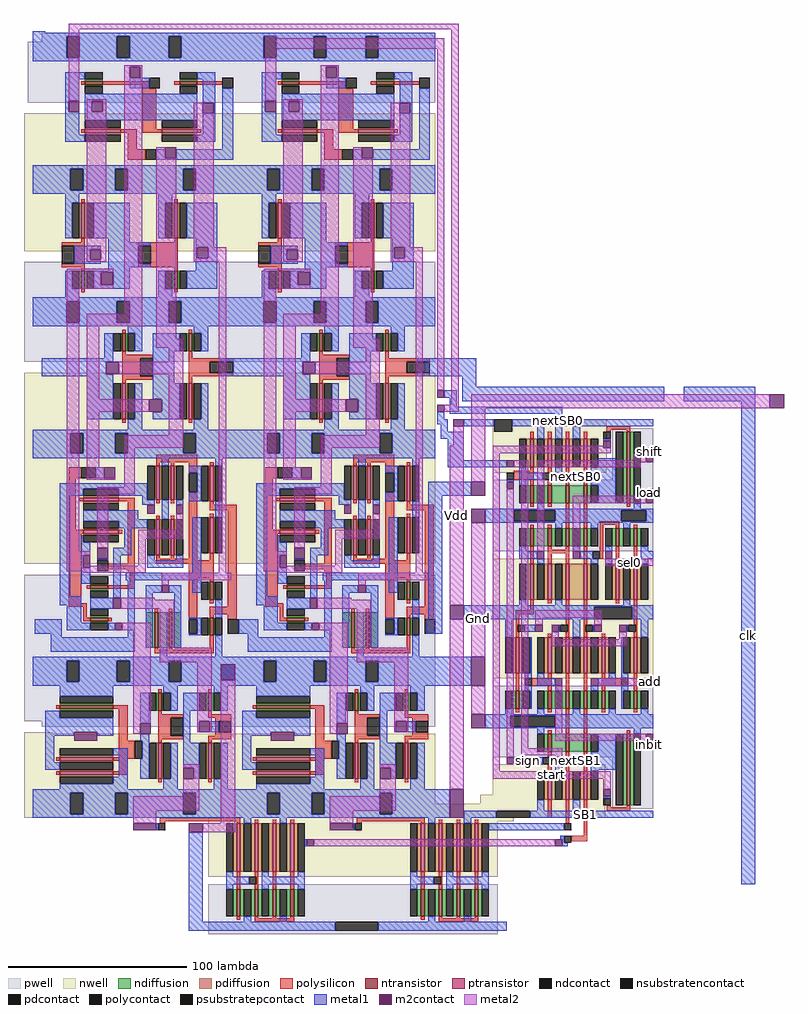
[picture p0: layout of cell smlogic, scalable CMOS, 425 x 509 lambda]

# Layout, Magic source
magic
tech scmos
<< pwell >>
rect 125 322 139 356
rect 123 177 139 233
rect 452 111 475 140
rect 385 71 475 111
rect 123 -24 139 58
rect 385 -44 475 -4
rect 452 -73 475 -44
rect 226 -143 388 -115
<< nwell >>
rect 123 239 139 316
rect 123 64 139 171
rect 385 115 449 145
rect 385 0 475 67
rect 123 -78 139 -30
rect 385 -65 448 -48
rect 378 -70 448 -65
rect 226 -78 448 -70
rect 226 -80 397 -78
rect 226 -111 388 -80
<< polysilicon >>
rect 449 139 462 141
rect 449 138 451 139
rect 460 138 462 139
rect 406 134 408 138
rect 416 134 418 138
rect 426 134 428 138
rect 436 134 438 138
rect 406 116 408 118
rect 397 111 408 116
rect 416 115 418 118
rect 417 111 418 115
rect 406 108 408 111
rect 416 108 418 111
rect 426 108 428 118
rect 436 108 438 118
rect 406 96 408 98
rect 416 96 418 98
rect 406 84 408 86
rect 416 84 418 86
rect 426 84 428 98
rect 436 84 438 98
rect 460 96 462 98
rect 445 86 456 88
rect 406 64 408 74
rect 416 72 418 74
rect 426 72 428 74
rect 416 70 428 72
rect 416 64 418 70
rect 426 64 428 70
rect 436 64 438 74
rect 445 67 447 86
rect 454 84 456 86
rect 464 84 466 86
rect 454 64 456 74
rect 464 64 466 74
rect 406 38 408 44
rect 416 42 418 44
rect 398 36 408 38
rect 398 30 400 36
rect 426 30 428 44
rect 398 26 399 30
rect 427 26 428 30
rect 398 23 400 26
rect 416 23 418 25
rect 426 23 428 26
rect 436 30 438 44
rect 454 42 456 44
rect 464 30 466 44
rect 436 26 437 30
rect 465 26 466 30
rect 436 23 438 26
rect 446 23 448 25
rect 464 23 466 26
rect 398 -7 400 3
rect 416 0 418 3
rect 407 -4 418 0
rect 416 -7 418 -4
rect 426 -7 428 3
rect 436 -7 438 3
rect 446 0 448 3
rect 446 -4 457 0
rect 446 -7 448 -4
rect 464 -7 466 3
rect 398 -19 400 -17
rect 416 -19 418 -17
rect 416 -31 418 -29
rect 426 -31 428 -17
rect 436 -31 438 -17
rect 446 -19 448 -17
rect 464 -19 466 -17
rect 460 -31 462 -29
rect 416 -44 418 -41
rect 417 -48 418 -44
rect 416 -52 418 -48
rect 426 -52 428 -41
rect 436 -52 438 -41
rect 416 -78 418 -68
rect 199 -80 244 -78
rect 199 -81 202 -80
rect 242 -81 244 -80
rect 252 -81 254 -79
rect 262 -81 264 -79
rect 272 -81 274 -79
rect 309 -80 347 -78
rect 309 -81 312 -80
rect 345 -81 347 -80
rect 355 -81 357 -79
rect 365 -81 367 -79
rect 375 -81 377 -79
rect 426 -81 428 -68
rect 436 -88 438 -68
rect 449 -72 451 -71
rect 460 -72 462 -71
rect 449 -74 462 -72
rect 429 -91 438 -88
rect 242 -118 244 -108
rect 252 -111 254 -108
rect 253 -115 254 -111
rect 252 -118 254 -115
rect 262 -118 264 -108
rect 272 -118 274 -108
rect 345 -118 347 -108
rect 355 -111 357 -108
rect 356 -115 357 -111
rect 355 -118 357 -115
rect 365 -118 367 -108
rect 375 -118 377 -108
rect 242 -135 244 -133
rect 252 -134 254 -133
rect 262 -134 264 -133
rect 272 -134 274 -133
rect 252 -136 274 -134
rect 345 -135 347 -133
rect 355 -134 357 -133
rect 365 -134 367 -133
rect 375 -134 377 -133
rect 355 -136 377 -134
<< ndiffusion >>
rect 404 98 406 108
rect 408 98 410 108
rect 414 98 416 108
rect 418 98 426 108
rect 428 98 436 108
rect 438 98 440 108
rect 458 98 460 138
rect 462 98 464 138
rect 404 74 406 84
rect 408 74 416 84
rect 418 74 420 84
rect 424 74 426 84
rect 428 74 430 84
rect 434 74 436 84
rect 438 74 440 84
rect 452 74 454 84
rect 456 74 458 84
rect 462 74 464 84
rect 466 74 468 84
rect 396 -17 398 -7
rect 400 -17 402 -7
rect 414 -17 416 -7
rect 418 -17 420 -7
rect 424 -17 426 -7
rect 428 -17 430 -7
rect 434 -17 436 -7
rect 438 -17 440 -7
rect 444 -17 446 -7
rect 448 -17 450 -7
rect 462 -17 464 -7
rect 466 -17 468 -7
rect 414 -41 416 -31
rect 418 -41 426 -31
rect 428 -41 436 -31
rect 438 -41 440 -31
rect 458 -71 460 -31
rect 462 -71 464 -31
rect 240 -133 242 -118
rect 244 -133 246 -118
rect 250 -133 252 -118
rect 254 -133 256 -118
rect 260 -133 262 -118
rect 264 -133 266 -118
rect 270 -133 272 -118
rect 274 -133 276 -118
rect 343 -133 345 -118
rect 347 -133 349 -118
rect 353 -133 355 -118
rect 357 -133 359 -118
rect 363 -133 365 -118
rect 367 -133 369 -118
rect 373 -133 375 -118
rect 377 -133 379 -118
<< pdiffusion >>
rect 404 118 406 134
rect 408 118 410 134
rect 414 118 416 134
rect 418 118 420 134
rect 424 118 426 134
rect 428 118 430 134
rect 434 118 436 134
rect 438 118 440 134
rect 404 44 406 64
rect 408 44 410 64
rect 414 44 416 64
rect 418 44 420 64
rect 424 44 426 64
rect 428 44 436 64
rect 438 44 440 64
rect 452 44 454 64
rect 456 44 458 64
rect 462 44 464 64
rect 466 44 468 64
rect 396 3 398 23
rect 400 3 402 23
rect 414 3 416 23
rect 418 3 420 23
rect 424 3 426 23
rect 428 3 430 23
rect 434 3 436 23
rect 438 3 440 23
rect 444 3 446 23
rect 448 3 450 23
rect 462 3 464 23
rect 466 3 468 23
rect 414 -68 416 -52
rect 418 -68 420 -52
rect 424 -68 426 -52
rect 428 -68 430 -52
rect 434 -68 436 -52
rect 438 -68 440 -52
rect 240 -108 242 -81
rect 244 -108 246 -81
rect 250 -108 252 -81
rect 254 -108 256 -81
rect 260 -108 262 -81
rect 264 -108 266 -81
rect 270 -108 272 -81
rect 274 -108 276 -81
rect 343 -108 345 -81
rect 347 -108 349 -81
rect 353 -108 355 -81
rect 357 -108 359 -81
rect 363 -108 365 -81
rect 367 -108 369 -81
rect 373 -108 375 -81
rect 377 -108 379 -81
<< metal1 >>
rect 128 345 135 362
rect 128 271 134 287
rect 128 197 134 213
rect 347 169 376 179
rect 368 163 376 169
rect 358 157 365 161
rect 354 145 358 149
rect 361 152 365 157
rect 368 155 481 163
rect 492 155 532 163
rect 361 148 424 152
rect 354 142 360 145
rect 128 123 134 139
rect 356 138 360 142
rect 369 141 386 145
rect 396 141 413 145
rect 356 134 369 138
rect 410 134 414 141
rect 360 122 369 134
rect 360 118 393 122
rect 420 134 424 148
rect 434 141 475 145
rect 430 134 434 141
rect 447 133 451 134
rect 444 118 454 123
rect 400 115 404 118
rect 420 115 424 118
rect 440 115 454 118
rect 393 110 397 111
rect 349 102 373 110
rect 400 111 413 115
rect 420 111 454 115
rect 400 108 404 111
rect 440 108 454 111
rect 349 33 357 102
rect 444 98 454 108
rect 471 125 475 129
rect 471 102 475 106
rect 410 95 414 98
rect 464 95 468 98
rect 381 94 475 95
rect 381 88 397 94
rect 420 88 457 94
rect 471 88 475 94
rect 381 87 475 88
rect 420 84 424 87
rect 440 84 444 87
rect 458 84 462 87
rect 400 71 404 74
rect 430 71 434 74
rect 448 71 452 74
rect 400 67 410 71
rect 434 67 441 71
rect 410 64 414 67
rect 440 64 444 67
rect 448 64 452 67
rect 468 71 472 74
rect 468 67 475 71
rect 468 64 472 67
rect 400 41 404 44
rect 420 41 424 44
rect 458 41 462 44
rect 369 40 475 41
rect 369 33 442 40
rect 463 33 475 40
rect 129 25 134 33
rect 348 25 357 33
rect 392 23 396 33
rect 403 26 409 30
rect 422 26 423 30
rect 430 23 434 33
rect 441 26 442 30
rect 460 26 461 30
rect 468 23 472 33
rect 128 -4 134 12
rect 348 -4 373 12
rect 406 3 407 23
rect 403 0 407 3
rect 410 0 414 3
rect 450 0 454 3
rect 410 -4 420 0
rect 403 -7 407 -4
rect 420 -7 424 -4
rect 444 -4 454 0
rect 457 3 458 23
rect 457 0 461 3
rect 472 -4 475 0
rect 440 -7 444 -4
rect 457 -7 461 -4
rect 406 -17 407 -7
rect 457 -17 458 -7
rect 392 -20 396 -17
rect 410 -20 414 -17
rect 430 -20 434 -17
rect 450 -20 454 -17
rect 468 -20 472 -17
rect 381 -21 475 -20
rect 381 -27 395 -21
rect 420 -27 475 -21
rect 381 -28 475 -27
rect 410 -31 414 -28
rect 464 -31 468 -28
rect 444 -41 454 -31
rect 440 -44 454 -41
rect 397 -48 413 -44
rect 424 -48 454 -44
rect 420 -52 424 -48
rect 440 -51 454 -48
rect 440 -52 444 -51
rect 128 -78 134 -62
rect 346 -78 361 -62
rect 447 -67 451 -66
rect 410 -74 414 -68
rect 430 -74 434 -68
rect 471 -39 475 -35
rect 369 -78 387 -74
rect 406 -78 475 -74
rect 246 -81 250 -78
rect 266 -81 270 -78
rect 349 -81 353 -78
rect 369 -81 373 -78
rect 197 -85 198 -81
rect 215 -136 223 -86
rect 307 -85 308 -81
rect 280 -94 281 -90
rect 236 -111 240 -108
rect 256 -111 260 -108
rect 276 -111 280 -108
rect 236 -115 249 -111
rect 256 -115 280 -111
rect 236 -118 240 -115
rect 256 -118 260 -115
rect 276 -118 280 -115
rect 383 -85 425 -81
rect 423 -90 425 -88
rect 424 -92 425 -90
rect 424 -94 427 -92
rect 339 -111 343 -108
rect 359 -111 363 -108
rect 379 -111 383 -108
rect 339 -115 352 -111
rect 359 -115 383 -111
rect 524 -115 532 155
rect 339 -118 343 -115
rect 359 -118 363 -115
rect 379 -118 383 -115
rect 246 -136 250 -133
rect 266 -136 270 -133
rect 349 -136 353 -133
rect 369 -136 373 -133
rect 215 -141 297 -136
rect 321 -141 393 -136
<< metal2 >>
rect 148 363 366 366
rect 148 358 154 363
rect 258 352 358 358
rect 354 161 358 352
rect 362 153 366 363
rect 358 149 366 153
rect 373 151 540 159
rect 363 130 369 141
rect 361 41 369 130
rect 373 110 381 151
rect 417 141 430 145
rect 385 129 447 130
rect 385 126 451 129
rect 184 -81 197 -77
rect 233 -81 241 -1
rect 361 -62 369 33
rect 373 12 381 87
rect 373 -20 381 -4
rect 385 -52 389 126
rect 464 122 471 125
rect 397 118 405 122
rect 393 -44 397 106
rect 401 -39 405 118
rect 410 121 471 122
rect 410 118 468 121
rect 410 71 414 118
rect 430 98 471 102
rect 430 71 434 98
rect 448 63 475 67
rect 409 34 446 38
rect 409 30 413 34
rect 442 30 446 34
rect 418 22 422 26
rect 456 22 460 26
rect 418 18 460 22
rect 444 -4 468 0
rect 420 -31 424 -4
rect 420 -35 471 -31
rect 401 -43 424 -39
rect 420 -44 424 -43
rect 385 -56 451 -52
rect 223 -86 241 -81
rect 294 -81 307 -76
rect 447 -62 451 -56
rect 285 -94 420 -90
<< ntransistor >>
rect 406 98 408 108
rect 416 98 418 108
rect 426 98 428 108
rect 436 98 438 108
rect 460 98 462 138
rect 406 74 408 84
rect 416 74 418 84
rect 426 74 428 84
rect 436 74 438 84
rect 454 74 456 84
rect 464 74 466 84
rect 398 -17 400 -7
rect 416 -17 418 -7
rect 426 -17 428 -7
rect 436 -17 438 -7
rect 446 -17 448 -7
rect 464 -17 466 -7
rect 416 -41 418 -31
rect 426 -41 428 -31
rect 436 -41 438 -31
rect 460 -71 462 -31
rect 242 -133 244 -118
rect 252 -133 254 -118
rect 262 -133 264 -118
rect 272 -133 274 -118
rect 345 -133 347 -118
rect 355 -133 357 -118
rect 365 -133 367 -118
rect 375 -133 377 -118
<< ptransistor >>
rect 406 118 408 134
rect 416 118 418 134
rect 426 118 428 134
rect 436 118 438 134
rect 406 44 408 64
rect 416 44 418 64
rect 426 44 428 64
rect 436 44 438 64
rect 454 44 456 64
rect 464 44 466 64
rect 398 3 400 23
rect 416 3 418 23
rect 426 3 428 23
rect 436 3 438 23
rect 446 3 448 23
rect 464 3 466 23
rect 416 -68 418 -52
rect 426 -68 428 -52
rect 436 -68 438 -52
rect 242 -108 244 -81
rect 252 -108 254 -81
rect 262 -108 264 -81
rect 272 -108 274 -81
rect 345 -108 347 -81
rect 355 -108 357 -81
rect 365 -108 367 -81
rect 375 -108 377 -81
<< polycontact >>
rect 447 134 451 138
rect 393 111 397 115
rect 413 111 417 115
rect 441 67 445 71
rect 399 26 403 30
rect 423 26 427 30
rect 437 26 441 30
rect 461 26 465 30
rect 403 -4 407 0
rect 457 -4 461 0
rect 413 -48 417 -44
rect 198 -85 202 -81
rect 308 -85 312 -81
rect 425 -85 429 -81
rect 447 -71 451 -67
rect 425 -92 429 -88
rect 249 -115 253 -111
rect 352 -115 356 -111
<< ndcontact >>
rect 400 98 404 108
rect 410 98 414 108
rect 440 98 444 108
rect 454 98 458 138
rect 464 98 468 138
rect 400 74 404 84
rect 420 74 424 84
rect 430 74 434 84
rect 440 74 444 84
rect 448 74 452 84
rect 458 74 462 84
rect 468 74 472 84
rect 392 -17 396 -7
rect 402 -17 406 -7
rect 410 -17 414 -7
rect 420 -17 424 -7
rect 430 -17 434 -7
rect 440 -17 444 -7
rect 450 -17 454 -7
rect 458 -17 462 -7
rect 468 -17 472 -7
rect 410 -41 414 -31
rect 440 -41 444 -31
rect 454 -71 458 -31
rect 464 -71 468 -31
rect 236 -133 240 -118
rect 246 -133 250 -118
rect 256 -133 260 -118
rect 266 -133 270 -118
rect 276 -133 280 -118
rect 339 -133 343 -118
rect 349 -133 353 -118
rect 359 -133 363 -118
rect 369 -133 373 -118
rect 379 -133 383 -118
<< pdcontact >>
rect 400 118 404 134
rect 410 118 414 134
rect 420 118 424 134
rect 430 118 434 134
rect 440 118 444 134
rect 400 44 404 64
rect 410 44 414 64
rect 420 44 424 64
rect 440 44 444 64
rect 448 44 452 64
rect 458 44 462 64
rect 468 44 472 64
rect 392 3 396 23
rect 402 3 406 23
rect 410 3 414 23
rect 420 3 424 23
rect 430 3 434 23
rect 440 3 444 23
rect 450 3 454 23
rect 458 3 462 23
rect 468 3 472 23
rect 410 -68 414 -52
rect 420 -68 424 -52
rect 430 -68 434 -52
rect 440 -68 444 -52
rect 236 -108 240 -81
rect 246 -108 250 -81
rect 256 -108 260 -81
rect 266 -108 270 -81
rect 276 -108 280 -81
rect 339 -108 343 -81
rect 349 -108 353 -81
rect 359 -108 363 -81
rect 369 -108 373 -81
rect 379 -108 383 -81
<< m2contact >>
rect 354 157 358 161
rect 354 149 358 153
rect 363 141 369 145
rect 413 141 417 145
rect 393 118 397 122
rect 430 141 434 145
rect 447 129 451 133
rect 373 102 381 110
rect 393 106 397 110
rect 471 121 475 125
rect 471 98 475 102
rect 373 87 381 95
rect 410 67 414 71
rect 430 67 434 71
rect 448 67 452 71
rect 361 33 369 41
rect 409 26 413 30
rect 418 26 422 30
rect 442 26 446 30
rect 456 26 460 30
rect 233 -1 241 8
rect 373 -4 381 12
rect 420 -4 424 0
rect 440 -4 444 0
rect 468 -4 472 0
rect 373 -28 381 -20
rect 393 -48 397 -44
rect 420 -48 424 -44
rect 361 -78 369 -62
rect 447 -66 451 -62
rect 471 -35 475 -31
rect 184 -85 197 -81
rect 215 -86 223 -81
rect 294 -85 307 -81
rect 281 -94 285 -90
rect 420 -94 424 -90
rect 540 151 548 159
<< psubstratepcontact >>
rect 397 88 420 94
rect 457 88 471 94
rect 395 -27 420 -21
rect 297 -141 321 -136
<< nsubstratencontact >>
rect 386 138 396 145
rect 442 33 463 40
rect 387 -78 406 -74
use rego  rego_0
transform 1 0 133 0 1 82
box 0 -160 110 279
use rego  rego_1
transform 1 0 243 0 1 82
box 0 -160 110 279
<< labels >>
rlabel space 361 41 369 141 3 Vdd
rlabel metal2 385 -56 451 -52 1 start
rlabel metal1 420 -48 444 -44 1 nextSB1
rlabel metal1 471 -39 475 -35 1 inbit
rlabel metal1 471 125 475 129 1 shift
rlabel metal1 471 102 475 106 1 load
rlabel metal1 420 111 444 115 1 nextSB0
rlabel metal2 374 -28 380 95 3 Gnd
rlabel polysilicon 436 -81 438 -71 1 SB1
rlabel polysilicon 426 -81 428 -71 1 SB0
rlabel metal1 397 -48 413 -44 1 sign
rlabel metal1 472 -4 475 0 7 add
rlabel metal2 448 63 475 67 1 sel0
rlabel metal1 468 64 472 74 1 sel1
rlabel metal1 420 136 424 152 1 nextSB0
rlabel metal2 401 -43 424 -39 1 nextSB1
rlabel metal1 524 -115 532 163 1 clk
<< end >>

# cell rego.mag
magic
tech scmos
<< pwell >>
rect 0 240 110 279
rect 0 95 110 151
rect 0 -109 110 -24
<< nwell >>
rect 0 157 110 234
rect 0 -18 110 89
rect 0 -160 110 -113
<< polysilicon >>
rect 22 250 24 252
rect 34 250 60 252
rect 56 248 60 250
rect 74 250 77 252
rect 87 250 101 252
rect 56 225 64 248
rect 22 223 24 225
rect 44 223 53 225
rect 56 223 67 225
rect 87 223 89 225
rect 48 214 53 223
rect 48 208 58 214
rect 22 184 24 186
rect 74 184 76 186
rect 22 162 24 164
rect 74 162 76 164
rect 11 160 24 162
rect 18 150 24 160
rect 11 148 24 150
rect 54 160 76 162
rect 61 150 76 160
rect 54 148 76 150
rect 22 146 24 148
rect 74 146 76 148
rect 22 134 24 136
rect 74 134 76 136
rect 45 111 47 113
rect 82 111 84 113
rect 45 99 47 101
rect 45 97 62 99
rect 45 87 55 97
rect 45 85 62 87
rect 82 97 84 101
rect 82 95 107 97
rect 82 89 94 95
rect 82 87 107 89
rect 45 83 47 85
rect 82 83 84 87
rect 45 61 47 63
rect 82 61 84 63
rect 64 39 87 43
rect 64 37 66 39
rect 72 37 74 39
rect 15 30 22 36
rect 15 1 19 30
rect 21 17 23 19
rect 43 17 52 19
rect 82 33 87 39
rect 94 37 96 39
rect 15 -1 23 1
rect 43 -1 45 1
rect 15 -40 22 -1
rect 48 -18 52 17
rect 64 16 66 18
rect 72 16 74 18
rect 64 7 66 9
rect 72 7 74 9
rect 64 -15 66 -13
rect 72 -15 74 -13
rect 82 -15 87 22
rect 94 15 96 17
rect 94 12 109 15
rect 94 8 96 10
rect 64 -16 87 -15
rect 94 -16 96 -12
rect 64 -18 96 -16
rect 37 -21 52 -18
rect 48 -22 52 -21
rect 49 -30 52 -22
rect 25 -32 27 -30
rect 37 -32 52 -30
rect 82 -26 96 -18
rect 15 -42 25 -40
rect 23 -48 25 -42
rect 63 -45 65 -43
rect 71 -45 73 -43
rect 23 -50 27 -48
rect 37 -50 39 -48
rect 82 -49 87 -26
rect 94 -28 96 -26
rect 94 -40 96 -38
rect 104 -42 109 12
rect 94 -46 109 -42
rect 94 -48 96 -46
rect 104 -49 109 -46
rect 63 -66 65 -65
rect 71 -66 73 -65
rect 94 -66 96 -58
rect 63 -68 96 -66
rect 65 -90 67 -88
rect 93 -90 95 -88
rect 8 -99 10 -97
rect 40 -99 48 -97
rect 43 -117 48 -99
rect 65 -102 67 -100
rect 93 -102 95 -100
rect 65 -104 79 -102
rect 93 -104 106 -102
rect 65 -114 72 -104
rect 97 -106 106 -104
rect 97 -112 99 -106
rect 97 -114 106 -112
rect 65 -116 79 -114
rect 93 -116 106 -114
rect 43 -126 52 -117
rect 8 -128 10 -126
rect 40 -127 52 -126
rect 65 -118 67 -116
rect 93 -118 95 -116
rect 40 -128 48 -127
rect 43 -134 48 -128
rect 8 -136 10 -134
rect 40 -136 48 -134
rect 65 -140 67 -138
rect 93 -140 95 -138
<< ndiffusion >>
rect 24 252 34 253
rect 24 249 34 250
rect 77 252 87 253
rect 77 249 87 250
rect 21 136 22 146
rect 24 136 25 146
rect 73 136 74 146
rect 76 136 77 146
rect 44 101 45 111
rect 47 101 48 111
rect 81 101 82 111
rect 84 101 85 111
rect 27 -30 37 -29
rect 27 -33 37 -32
rect 27 -48 37 -47
rect 27 -51 37 -50
rect 58 -65 63 -45
rect 65 -65 71 -45
rect 73 -65 78 -45
rect 93 -38 94 -28
rect 96 -38 97 -28
rect 93 -58 94 -48
rect 96 -58 97 -48
rect 10 -97 40 -96
rect 10 -100 40 -99
rect 64 -100 65 -90
rect 67 -100 68 -90
rect 92 -100 93 -90
rect 95 -100 96 -90
<< pdiffusion >>
rect 24 225 44 226
rect 67 225 87 226
rect 24 222 44 223
rect 67 222 87 223
rect 21 164 22 184
rect 24 164 25 184
rect 73 164 74 184
rect 76 164 77 184
rect 44 63 45 83
rect 47 63 48 83
rect 81 63 82 83
rect 84 63 85 83
rect 23 19 43 20
rect 63 18 64 37
rect 66 18 67 37
rect 71 18 72 37
rect 74 18 75 37
rect 23 16 43 17
rect 23 1 43 2
rect 23 -2 43 -1
rect 63 -13 64 7
rect 66 -13 67 7
rect 71 -13 72 7
rect 74 -13 75 7
rect 93 17 94 37
rect 96 17 97 37
rect 93 -12 94 8
rect 96 -12 97 8
rect 10 -126 40 -125
rect 10 -129 40 -128
rect 10 -134 40 -133
rect 10 -137 40 -136
rect 64 -138 65 -118
rect 67 -138 68 -118
rect 92 -138 93 -118
rect 95 -138 96 -118
<< metal1 >>
rect 0 277 110 279
rect 0 265 14 277
rect 21 265 42 277
rect 49 265 71 277
rect 78 265 110 277
rect 0 263 110 265
rect 13 253 24 257
rect 13 241 21 253
rect 13 235 15 241
rect 13 222 21 235
rect 49 248 60 254
rect 87 253 97 257
rect 24 241 87 245
rect 24 235 28 241
rect 34 235 87 241
rect 24 230 87 235
rect 90 240 97 253
rect 96 234 97 240
rect 90 222 97 234
rect 13 218 24 222
rect 87 218 97 222
rect 64 209 69 214
rect 101 214 107 248
rect 75 209 107 214
rect 64 208 107 209
rect 0 203 110 205
rect 0 191 16 203
rect 23 191 41 203
rect 48 191 79 203
rect 86 191 110 203
rect 0 189 110 191
rect 13 184 21 189
rect 65 184 73 189
rect 13 164 17 184
rect 29 164 49 184
rect 65 164 69 184
rect 81 164 98 184
rect 37 162 49 164
rect 37 160 61 162
rect 18 158 33 160
rect 18 152 27 158
rect 18 150 33 152
rect 37 150 54 160
rect 37 148 61 150
rect 86 159 98 164
rect 86 153 87 159
rect 93 153 98 159
rect 37 146 49 148
rect 86 146 98 153
rect 13 136 17 146
rect 29 145 49 146
rect 29 138 33 145
rect 40 138 49 145
rect 29 136 49 138
rect 65 136 69 146
rect 81 136 98 146
rect 13 131 21 136
rect 65 131 73 136
rect 0 129 110 131
rect 0 117 14 129
rect 21 117 42 129
rect 49 117 71 129
rect 78 117 110 129
rect 0 115 110 117
rect 48 111 56 115
rect 85 111 93 115
rect 35 97 40 111
rect 52 101 56 111
rect 62 101 77 111
rect 89 101 93 111
rect 0 95 40 97
rect 0 88 36 95
rect 0 87 40 88
rect 25 63 40 87
rect 62 83 74 101
rect 100 95 110 97
rect 107 89 110 95
rect 100 87 110 89
rect 52 63 56 83
rect 62 74 77 83
rect 67 67 77 74
rect 62 63 77 67
rect 89 63 93 83
rect 48 57 56 63
rect 85 57 93 63
rect 0 55 110 57
rect 0 44 16 55
rect 23 44 41 55
rect 48 44 79 55
rect 86 44 110 55
rect 0 41 110 44
rect 67 37 71 41
rect 97 37 101 41
rect 30 30 35 36
rect 10 24 59 27
rect 10 20 23 24
rect 43 20 59 24
rect 10 -36 16 20
rect 56 18 59 20
rect 56 15 63 18
rect 23 7 54 12
rect 67 7 71 18
rect 75 15 79 18
rect 82 33 89 37
rect 87 22 89 33
rect 82 17 89 22
rect 97 8 101 17
rect 23 6 59 7
rect 43 2 59 6
rect 22 -6 23 -2
rect 22 -13 27 -6
rect 46 -9 50 2
rect 22 -20 23 -13
rect 22 -29 27 -20
rect 31 -16 37 -15
rect 40 -13 50 -9
rect 10 -41 22 -36
rect 0 -57 11 -49
rect 14 -51 22 -41
rect 40 -37 44 -13
rect 59 -16 63 -13
rect 75 -16 79 -13
rect 59 -20 79 -16
rect 84 -23 89 8
rect 47 -27 89 -23
rect 27 -43 40 -37
rect 14 -55 27 -51
rect 37 -55 41 -51
rect 5 -59 11 -57
rect 48 -59 52 -27
rect 5 -67 52 -59
rect 58 -34 67 -30
rect 71 -34 78 -30
rect 84 -34 89 -27
rect 58 -65 62 -34
rect 66 -70 70 -45
rect 74 -65 78 -34
rect 97 -48 101 -38
rect 82 -49 89 -48
rect 87 -57 89 -49
rect 82 -58 89 -57
rect 97 -70 101 -58
rect 0 -72 110 -70
rect 0 -84 14 -72
rect 21 -84 42 -72
rect 49 -84 71 -72
rect 78 -84 110 -72
rect 0 -86 110 -84
rect 10 -92 40 -86
rect 68 -90 76 -86
rect 96 -90 104 -86
rect 2 -104 10 -100
rect 2 -112 40 -104
rect 2 -114 18 -112
rect 2 -129 7 -114
rect 31 -114 40 -112
rect 55 -107 60 -90
rect 72 -100 76 -90
rect 79 -100 88 -90
rect 100 -100 104 -90
rect 55 -117 60 -113
rect 40 -125 48 -121
rect 2 -133 10 -129
rect 43 -137 48 -125
rect 56 -127 60 -117
rect 79 -118 83 -100
rect 94 -112 99 -106
rect 40 -141 48 -137
rect 55 -138 60 -127
rect 72 -138 76 -118
rect 79 -132 88 -118
rect 85 -138 88 -132
rect 100 -138 104 -118
rect 10 -144 48 -141
rect 68 -144 76 -138
rect 96 -144 104 -138
rect 0 -146 110 -144
rect 0 -158 16 -146
rect 23 -158 41 -146
rect 48 -158 79 -146
rect 86 -158 110 -146
rect 0 -160 110 -158
<< metal2 >>
rect 15 241 21 277
rect 46 260 56 261
rect 46 254 49 260
rect 55 254 56 260
rect 25 241 36 242
rect 25 235 28 241
rect 34 235 36 241
rect 25 158 36 235
rect 25 152 27 158
rect 33 152 36 158
rect 25 151 36 152
rect 14 145 40 147
rect 14 138 33 145
rect 14 136 40 138
rect 14 -11 21 136
rect 46 122 56 254
rect 85 234 90 240
rect 25 115 56 122
rect 64 209 69 215
rect 25 74 32 115
rect 64 108 75 209
rect 85 159 96 234
rect 85 153 87 159
rect 93 153 103 159
rect 85 151 103 153
rect 64 103 79 108
rect 71 95 79 103
rect 43 88 79 95
rect 25 67 60 74
rect 25 36 32 67
rect 71 54 79 88
rect 46 47 79 54
rect 25 30 35 36
rect 25 29 41 30
rect 46 25 52 47
rect 31 21 52 25
rect 31 -9 37 21
rect 75 1 79 10
rect 14 -13 27 -11
rect 14 -20 23 -13
rect 54 -4 79 1
rect 54 -19 58 -4
rect 27 -20 58 -19
rect 14 -22 58 -20
rect 23 -23 58 -22
rect 99 -23 103 151
rect 67 -27 106 -23
rect 67 -30 71 -27
rect 44 -38 63 -37
rect 44 -43 74 -38
rect 45 -55 61 -51
rect 51 -107 61 -55
rect 66 -65 74 -43
rect 66 -73 95 -65
rect 51 -113 55 -107
rect 87 -106 95 -73
rect 87 -112 88 -106
rect 94 -112 95 -106
rect 79 -132 88 -130
rect 85 -138 88 -132
rect 79 -148 88 -138
rect 51 -156 88 -148
rect 51 -160 64 -156
<< ntransistor >>
rect 24 250 34 252
rect 77 250 87 252
rect 22 136 24 146
rect 74 136 76 146
rect 45 101 47 111
rect 82 101 84 111
rect 27 -32 37 -30
rect 27 -50 37 -48
rect 63 -65 65 -45
rect 71 -65 73 -45
rect 94 -38 96 -28
rect 94 -58 96 -48
rect 10 -99 40 -97
rect 65 -100 67 -90
rect 93 -100 95 -90
<< ptransistor >>
rect 24 223 44 225
rect 67 223 87 225
rect 22 164 24 184
rect 74 164 76 184
rect 45 63 47 83
rect 82 63 84 83
rect 23 17 43 19
rect 64 18 66 37
rect 72 18 74 37
rect 23 -1 43 1
rect 64 -13 66 7
rect 72 -13 74 7
rect 94 17 96 37
rect 94 -12 96 8
rect 10 -128 40 -126
rect 10 -136 40 -134
rect 65 -138 67 -118
rect 93 -138 95 -118
<< polycontact >>
rect 60 248 66 254
rect 101 248 107 254
rect 58 208 64 214
rect 11 150 18 160
rect 54 150 61 160
rect 55 87 62 97
rect 94 89 107 95
rect 22 30 30 36
rect 82 22 87 33
rect 31 -22 37 -16
rect 82 -57 87 -49
rect 104 -57 110 -49
rect 72 -114 79 -104
rect 99 -112 106 -106
rect 52 -127 56 -117
<< ndcontact >>
rect 24 253 34 257
rect 24 245 34 249
rect 77 253 87 257
rect 77 245 87 249
rect 17 136 21 146
rect 25 136 29 146
rect 69 136 73 146
rect 77 136 81 146
rect 40 101 44 111
rect 48 101 52 111
rect 77 101 81 111
rect 85 101 89 111
rect 27 -29 37 -25
rect 27 -37 37 -33
rect 27 -47 37 -43
rect 27 -55 37 -51
rect 89 -38 93 -28
rect 97 -38 101 -28
rect 89 -58 93 -48
rect 97 -58 101 -48
rect 10 -96 40 -92
rect 10 -104 40 -100
rect 60 -100 64 -90
rect 68 -100 72 -90
rect 88 -100 92 -90
rect 96 -100 100 -90
<< pdcontact >>
rect 24 226 44 230
rect 67 226 87 230
rect 24 218 44 222
rect 67 218 87 222
rect 17 164 21 184
rect 25 164 29 184
rect 69 164 73 184
rect 77 164 81 184
rect 40 63 44 83
rect 48 63 52 83
rect 77 63 81 83
rect 85 63 89 83
rect 23 20 43 24
rect 59 18 63 37
rect 67 18 71 37
rect 75 18 79 37
rect 23 12 43 16
rect 23 2 43 6
rect 23 -6 43 -2
rect 59 -13 63 7
rect 67 -13 71 7
rect 75 -13 79 7
rect 89 17 93 37
rect 97 17 101 37
rect 89 -12 93 8
rect 97 -12 101 8
rect 10 -125 40 -121
rect 10 -133 40 -129
rect 10 -141 40 -137
rect 60 -138 64 -118
rect 68 -138 72 -118
rect 88 -138 92 -118
rect 96 -138 100 -118
<< m2contact >>
rect 49 254 55 260
rect 15 235 21 241
rect 28 235 34 241
rect 90 234 96 240
rect 69 209 75 215
rect 27 152 33 158
rect 87 153 93 159
rect 33 138 40 145
rect 36 88 43 95
rect 60 67 67 74
rect 35 30 41 36
rect 59 10 63 15
rect 75 10 79 15
rect 23 -20 27 -13
rect 31 -15 37 -9
rect 40 -43 44 -37
rect 41 -55 45 -51
rect 67 -34 71 -30
rect 18 -117 31 -112
rect 55 -113 61 -107
rect 88 -112 94 -106
rect 79 -138 85 -132
<< psubstratepcontact >>
rect 14 265 21 277
rect 42 265 49 277
rect 71 265 78 277
rect 14 117 21 129
rect 42 117 49 129
rect 71 117 78 129
rect 14 -84 21 -72
rect 42 -84 49 -72
rect 71 -84 78 -72
<< nsubstratencontact >>
rect 16 191 23 203
rect 41 191 48 203
rect 79 191 86 203
rect 16 44 23 55
rect 41 44 48 55
rect 79 44 86 55
rect 16 -158 23 -146
rect 41 -158 48 -146
rect 79 -158 86 -146
<< labels >>
rlabel metal1 37 148 54 162 0 REGMEM
rlabel metal1 62 74 74 111 0 INCLKn
rlabel metal1 25 63 40 97 0 INCLK
rlabel polysilicon 82 87 94 97 0 CLK
rlabel metal1 79 -138 88 -118 0 REGOUT
rlabel metal1 2 -114 18 -108 0 REGBUF
rlabel space 12 233 21 279 0 REGIN
rlabel polysilicon 104 -46 109 -26 0 RST
rlabel metal2 66 -73 74 -38 1 REGOUTn
rlabel space 592 -854 598 -818 8 qregin
<< end >>
